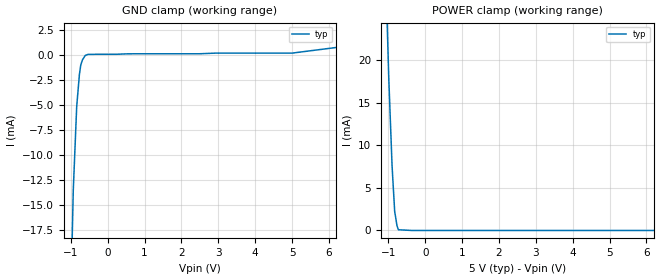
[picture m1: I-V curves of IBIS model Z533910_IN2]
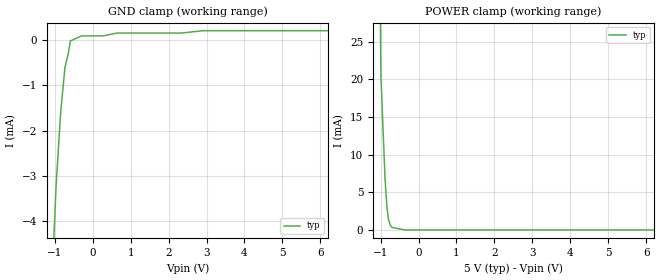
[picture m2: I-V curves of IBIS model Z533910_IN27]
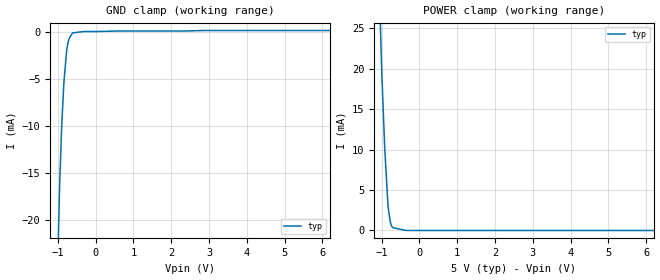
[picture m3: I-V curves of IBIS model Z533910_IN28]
| YOU ARE ONLY AUTHORIZED TO USE THIS SOFTWARE
| ACCORDING TO LICENSOR'S LICENSE RESTRICTIONS.
[IBIS Ver] 3.1
[File Name] mc10e211fn_pecl.ibs
[File Rev] 2.0
[Source] Measured and created by ICX Technology
[Date] Friday 7/14/00 9:07:49 AM
[Copyright]
| (C) COPYRIGHT 1993-2000
| MENTOR GRAPHICS CORPORATION
| ICX STANDARD LIBRARY, ICX PROJECT MODELING,
| ICX CUSTOM MODELING, ICX VENDOR MODEL
| ALL RIGHTS RESERVED.
| THE FOLLOWING ARE TRADEMARKS OR SERVICE MARKS OF
| MENTOR GRAPHICS CORPORATION:ICX (R), ICX STANDARD
| LIBRARY(R), ICX PROJECT MODELING(R), ICX CUSTOM
| MODELING(R), qualityIBIS(TM), MODELVIEWER(TM),
| AND MODELEDITOR(TM)
| ALL COPIES OF SOFTWARE, INCLUDING BUT NOT LIMITED TO
| ANY MODIFICATIONS, ENHANCEMENTS OR DERIVATIVE WORKS,
| MUST CONTAIN ALL MENTOR GRAPHICS CORPORATION'S
| NOTICES AND LEGENDS, INCLUDING THOSE EMBEDDED IN
| SOFTWARE AND THOSE AFFIXED TO SOFTWARE MEDIUM
| AND CONTAINER, AS RECEIVED FROM MENTOR GRAPHICS
| CORPORATION.
|  ZAP Model Builder 2.7
[Component] MC10E211FN_PECL
[Manufacturer] OnSemiconductor
[Package]
| variable   typ   min   max
R_pkg  .083ohms NA NA
L_pkg  4.299nH NA NA
C_pkg  1.045pF NA NA
[Pin] signal_name  model_name  R_pin  L_pin C_pin
1 VEE GND .08 3.94n .925p
2 CLK Z533910_IN2 .082 4.14n .995p
3 _CLK Z533910_IN2 .084 4.354n 1.065p
4 VBB NC .086 4.583n 1.135p
5 _CEN Z533910_IN5 .086 4.583n 1.135p
6 _EN2 Z533910_IN6 .084 4.354n 1.065p
7 _EN1 Z533910_IN6 .082 4.14n .995p
8 _EN0 Z533910_IN6 .08 3.94n .925p
9 VCC0 POWER .082 4.14n .995p
10 Q0 Z533910_OUT10 .084 4.354n 1.065p
11 _Q0 Z533910_OUT10 .086 4.583n 1.135p
12 Q1 Z533910_OUT10 .086 4.583n 1.135p
13 _Q1 Z533910_OUT10 .084 4.354n 1.065p
14 Q2 Z533910_OUT10 .082 4.14n .995p
15 _Q2 Z533910_OUT10 .08 3.94n .925p
16 VCC POWER .082 4.14n .995p
17 Q3 Z533910_OUT10 .084 4.354n 1.065p
18 _Q3 Z533910_OUT10 .086 4.583n 1.135p
19 Q4 Z533910_OUT10 .086 4.583n 1.135p
20 _Q4 Z533910_OUT10 .084 4.354n 1.065p
21 Q5 Z533910_OUT10 .082 4.14n .995p
22 _Q5 Z533910_OUT10 .08 3.94n .925p
23 VCC0 POWER .082 4.14n .995p
24 _EN5 Z533910_IN6 .084 4.354n 1.065p
25 _EN4 Z533910_IN6 .086 4.583n 1.135p
26 _EN3 Z533910_IN6 .086 4.583n 1.135p
27 SEL Z533910_IN27 .084 4.354n 1.065p
28 SCLK Z533910_IN28 .082 4.14n .995p
| Models and submodels in the file (6): Z533910_IN2 (Input_ECL), Z533910_IN27 (Input_ECL), Z533910_IN28 (Input_ECL), Z533910_IN5 (Input_ECL), Z533910_IN6 (Input_ECL), Z533910_OUT10 (Output_ECL)
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| (C) COPYRIGHT 1993-2000
| MENTOR GRAPHICS CORPORATION
| ICX STANDARD LIBRARY, ICX PROJECT MODELING,
| ICX CUSTOM MODELING, ICX VENDOR MODEL
| ALL RIGHTS RESERVED.
| THE FOLLOWING ARE TRADEMARKS OR SERVICE MARKS OF
| MENTOR GRAPHICS CORPORATION:ICX (R), ICX STANDARD
| LIBRARY(R), ICX PROJECT MODELING(R), ICX CUSTOM
| MODELING(R), qualityIBIS(TM), MODELVIEWER(TM),
| AND MODELEDITOR(TM)
| ALL COPIES OF SOFTWARE, INCLUDING BUT NOT LIMITED TO
| ANY MODIFICATIONS, ENHANCEMENTS OR DERIVATIVE WORKS,
| MUST CONTAIN ALL MENTOR GRAPHICS CORPORATION'S
| NOTICES AND LEGENDS, INCLUDING THOSE EMBEDDED IN
| SOFTWARE AND THOSE AFFIXED TO SOFTWARE MEDIUM
| AND CONTAINER, AS RECEIVED FROM MENTOR GRAPHICS
| CORPORATION.
| Model Application Version 1.89 2/18/99.
[Model] Z533910_IN2
Model_type Input_ECL
Vinl = 3.520V
Vinh = 3.830V
C_comp 4.000pF NA NA
| variable typ   min   max
[Voltage Range] 5.000V NA NA
[GND Clamp Reference] 0.000V NA NA
[POWER Clamp Reference] 5.000V NA NA
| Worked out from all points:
|   GND clamp passes 1 mA (typ) near -0.73 V on its own axis
|   POWER clamp passes 1 mA (typ) near -0.78 V on its own axis
[GND Clamp]
-5V       -1.318A    NA         NA
-1.051V   -32.57mA   NA         NA
-936mV    -13.61mA   NA         NA
-843mV    -5.177mA   NA         NA
-769mV    -1.922mA   NA         NA
-731.7mV  -979.9uA   NA         NA
-686.3mV  -465.9uA   NA         NA
-610.3mV  -22.14uA   NA         NA
-532.2mV  85.33uA    NA         NA
4.997V    208.9uA    NA         NA
10V       2.569mA    NA         NA
[POWER Clamp]
-5V       1.295A     NA         NA
-1.239V   65.47mA    NA         NA
-1.094V   33.36mA    NA         NA
-991mV    18.05mA    NA         NA
-901mV    7.642mA    NA         NA
-830mV    2.253mA    NA         NA
-767mV    563.8uA    NA         NA
-728mV    85.61uA    NA         NA
-364mV    0A         NA         NA
10V       0A         NA         NA
| (C) COPYRIGHT 1993-2000
| MENTOR GRAPHICS CORPORATION
| ICX STANDARD LIBRARY, ICX PROJECT MODELING,
| ICX CUSTOM MODELING, ICX VENDOR MODEL
| ALL RIGHTS RESERVED.
| THE FOLLOWING ARE TRADEMARKS OR SERVICE MARKS OF
| MENTOR GRAPHICS CORPORATION:ICX (R), ICX STANDARD
| LIBRARY(R), ICX PROJECT MODELING(R), ICX CUSTOM
| MODELING(R), qualityIBIS(TM), MODELVIEWER(TM),
| AND MODELEDITOR(TM)
| ALL COPIES OF SOFTWARE, INCLUDING BUT NOT LIMITED TO
| ANY MODIFICATIONS, ENHANCEMENTS OR DERIVATIVE WORKS,
| MUST CONTAIN ALL MENTOR GRAPHICS CORPORATION'S
| NOTICES AND LEGENDS, INCLUDING THOSE EMBEDDED IN
| SOFTWARE AND THOSE AFFIXED TO SOFTWARE MEDIUM
| AND CONTAINER, AS RECEIVED FROM MENTOR GRAPHICS
| CORPORATION.
| Model Application Version 1.89 2/18/99.
[Model] Z533910_IN27
Model_type Input_ECL
Vinl = 3.520V
Vinh = 3.830V
C_comp 4.000pF NA NA
| variable typ   min   max
[Voltage Range] 5.000V NA NA
[GND Clamp Reference] 0.000V NA NA
[POWER Clamp Reference] 5.000V NA NA
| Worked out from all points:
|   GND clamp passes 1 mA (typ) near -0.78 V on its own axis
|   POWER clamp passes 1 mA (typ) near -0.77 V on its own axis
[GND Clamp]
-5V       -192.9mA   NA         NA
-1.08V    -5.511mA   NA         NA
-966.8mV  -3.242mA   NA         NA
-846.6mV  -1.618mA   NA         NA
-731.6mV  -595.8uA   NA         NA
-647.7mV  -302.9uA   NA         NA
-590.5mV  -13.44uA   NA         NA
-295.2mV  100.6uA    NA         NA
644.8mV   163.7uA    NA         NA
2.336V    163.7uA    NA         NA
2.9V      214.9uA    NA         NA
10V       214.9uA    NA         NA
[POWER Clamp]
-5V       1.286A     NA         NA
-1.038V   45.03mA    NA         NA
-991mV    20.32mA    NA         NA
-883mV    6.804mA    NA         NA
-830mV    2.922mA    NA         NA
-791mV    1.424mA    NA         NA
-747mV    674.5uA    NA         NA
-728mV    479.7uA    NA         NA
-689mV    323.4uA    NA         NA
-344.5mV  0A         NA         NA
10V       0A         NA         NA
| (C) COPYRIGHT 1993-2000
| MENTOR GRAPHICS CORPORATION
| ICX STANDARD LIBRARY, ICX PROJECT MODELING,
| ICX CUSTOM MODELING, ICX VENDOR MODEL
| ALL RIGHTS RESERVED.
| THE FOLLOWING ARE TRADEMARKS OR SERVICE MARKS OF
| MENTOR GRAPHICS CORPORATION:ICX (R), ICX STANDARD
| LIBRARY(R), ICX PROJECT MODELING(R), ICX CUSTOM
| MODELING(R), qualityIBIS(TM), MODELVIEWER(TM),
| AND MODELEDITOR(TM)
| ALL COPIES OF SOFTWARE, INCLUDING BUT NOT LIMITED TO
| ANY MODIFICATIONS, ENHANCEMENTS OR DERIVATIVE WORKS,
| MUST CONTAIN ALL MENTOR GRAPHICS CORPORATION'S
| NOTICES AND LEGENDS, INCLUDING THOSE EMBEDDED IN
| SOFTWARE AND THOSE AFFIXED TO SOFTWARE MEDIUM
| AND CONTAINER, AS RECEIVED FROM MENTOR GRAPHICS
| CORPORATION.
| Model Application Version 1.89 2/18/99.
[Model] Z533910_IN28
Model_type Input_ECL
Vinl = 3.520V
Vinh = 3.830V
C_comp 4.000pF NA NA
| variable typ   min   max
[Voltage Range] 5.000V NA NA
[GND Clamp Reference] 0.000V NA NA
[POWER Clamp Reference] 5.000V NA NA
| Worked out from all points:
|   GND clamp passes 1 mA (typ) near -0.73 V on its own axis
|   POWER clamp passes 1 mA (typ) near -0.77 V on its own axis
[GND Clamp]
-5V       -1.272A    NA         NA
-1.035V   -29.86mA   NA         NA
-952.1mV  -16.23mA   NA         NA
-896.9mV  -9.858mA   NA         NA
-842.1mV  -5.471mA   NA         NA
-768.3mV  -1.972mA   NA         NA
-730.9mV  -1.044mA   NA         NA
-686.8mV  -525uA     NA         NA
-610.1mV  -50.75uA   NA         NA
-305mV    101.7uA    NA         NA
609.1mV   155uA      NA         NA
10V       207.1uA    NA         NA
[POWER Clamp]
-5V       1.267A     NA         NA
-1.221V   63.34mA    NA         NA
-1.093V   34.72mA    NA         NA
-991mV    18.99mA    NA         NA
-918mV    10.25mA    NA         NA
-829mV    2.93mA     NA         NA
-767mV    970.9uA    NA         NA
-728mV    470.3uA    NA         NA
-689mV    330.2uA    NA         NA
-344.5mV  0A         NA         NA
10V       0A         NA         NA
